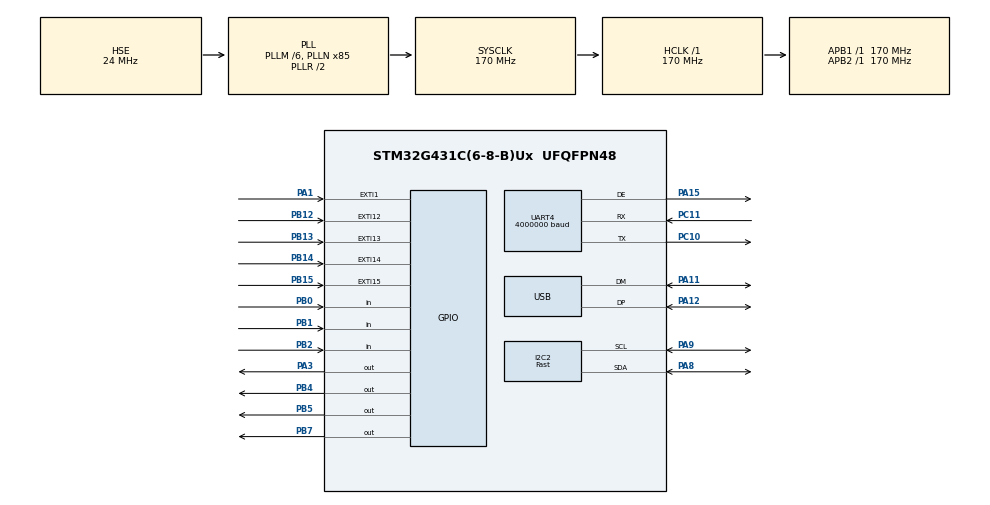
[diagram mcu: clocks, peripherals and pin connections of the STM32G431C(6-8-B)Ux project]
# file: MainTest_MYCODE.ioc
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Dma.I2C2_RX.2.Direction=DMA_PERIPH_TO_MEMORY
Dma.I2C2_RX.2.EventEnable=DISABLE
Dma.I2C2_RX.2.Instance=DMA2_Channel4
Dma.I2C2_RX.2.MemDataAlignment=DMA_MDATAALIGN_BYTE
Dma.I2C2_RX.2.MemInc=DMA_MINC_ENABLE
Dma.I2C2_RX.2.Mode=DMA_NORMAL
Dma.I2C2_RX.2.PeriphDataAlignment=DMA_PDATAALIGN_BYTE
Dma.I2C2_RX.2.PeriphInc=DMA_PINC_DISABLE
Dma.I2C2_RX.2.Polarity=HAL_DMAMUX_REQ_GEN_RISING
Dma.I2C2_RX.2.Priority=DMA_PRIORITY_HIGH
Dma.I2C2_RX.2.RequestNumber=1
Dma.I2C2_RX.2.SignalID=NONE
Dma.I2C2_RX.2.SyncEnable=DISABLE
Dma.I2C2_RX.2.SyncPolarity=HAL_DMAMUX_SYNC_NO_EVENT
Dma.I2C2_RX.2.SyncRequestNumber=1
Dma.I2C2_RX.2.SyncSignalID=NONE
Dma.I2C2_TX.3.Direction=DMA_MEMORY_TO_PERIPH
Dma.I2C2_TX.3.EventEnable=DISABLE
Dma.I2C2_TX.3.Instance=DMA2_Channel3
Dma.I2C2_TX.3.MemDataAlignment=DMA_MDATAALIGN_BYTE
Dma.I2C2_TX.3.MemInc=DMA_MINC_ENABLE
Dma.I2C2_TX.3.Mode=DMA_NORMAL
Dma.I2C2_TX.3.PeriphDataAlignment=DMA_PDATAALIGN_BYTE
Dma.I2C2_TX.3.PeriphInc=DMA_PINC_DISABLE
Dma.I2C2_TX.3.Polarity=HAL_DMAMUX_REQ_GEN_RISING
Dma.I2C2_TX.3.Priority=DMA_PRIORITY_HIGH
Dma.I2C2_TX.3.RequestNumber=1
Dma.I2C2_TX.3.SignalID=NONE
Dma.I2C2_TX.3.SyncEnable=DISABLE
Dma.I2C2_TX.3.SyncPolarity=HAL_DMAMUX_SYNC_NO_EVENT
Dma.I2C2_TX.3.SyncRequestNumber=1
Dma.I2C2_TX.3.SyncSignalID=NONE
Dma.Request0=UART4_RX
Dma.Request1=UART4_TX
Dma.Request2=I2C2_RX
Dma.Request3=I2C2_TX
Dma.UART4_RX.0.Direction=DMA_PERIPH_TO_MEMORY
Dma.UART4_RX.0.EventEnable=DISABLE
Dma.UART4_RX.0.Instance=DMA1_Channel1
Dma.UART4_RX.0.MemDataAlignment=DMA_MDATAALIGN_BYTE
Dma.UART4_RX.0.MemInc=DMA_MINC_ENABLE
Dma.UART4_RX.0.Mode=DMA_NORMAL
Dma.UART4_RX.0.PeriphDataAlignment=DMA_PDATAALIGN_BYTE
Dma.UART4_RX.0.PeriphInc=DMA_PINC_DISABLE
Dma.UART4_RX.0.Polarity=HAL_DMAMUX_REQ_GEN_RISING
Dma.UART4_RX.0.Priority=DMA_PRIORITY_HIGH
Dma.UART4_RX.0.RequestNumber=1
Dma.UART4_RX.0.SignalID=NONE
Dma.UART4_RX.0.SyncEnable=DISABLE
Dma.UART4_RX.0.SyncPolarity=HAL_DMAMUX_SYNC_NO_EVENT
Dma.UART4_RX.0.SyncRequestNumber=1
Dma.UART4_RX.0.SyncSignalID=NONE
Dma.UART4_TX.1.Direction=DMA_MEMORY_TO_PERIPH
Dma.UART4_TX.1.EventEnable=DISABLE
Dma.UART4_TX.1.Instance=DMA1_Channel2
Dma.UART4_TX.1.MemDataAlignment=DMA_MDATAALIGN_BYTE
Dma.UART4_TX.1.MemInc=DMA_MINC_ENABLE
Dma.UART4_TX.1.Mode=DMA_NORMAL
Dma.UART4_TX.1.PeriphDataAlignment=DMA_PDATAALIGN_BYTE
Dma.UART4_TX.1.PeriphInc=DMA_PINC_DISABLE
Dma.UART4_TX.1.Polarity=HAL_DMAMUX_REQ_GEN_RISING
Dma.UART4_TX.1.Priority=DMA_PRIORITY_HIGH
Dma.UART4_TX.1.RequestNumber=1
Dma.UART4_TX.1.SignalID=NONE
Dma.UART4_TX.1.SyncEnable=DISABLE
Dma.UART4_TX.1.SyncPolarity=HAL_DMAMUX_SYNC_NO_EVENT
Dma.UART4_TX.1.SyncRequestNumber=1
Dma.UART4_TX.1.SyncSignalID=NONE
I2C2.I2C_Speed_Mode=I2C_Fast
I2C2.Timing=0x40621236
Mcu.Family=STM32G4
Mcu.Name=STM32G431C(6-8-B)Ux
Mcu.Package=UFQFPN48
NVIC.DMA1_Channel1_IRQn=true\:0\:0\:false\:false\:true\:false\:true\:true
NVIC.DMA1_Channel2_IRQn=true\:0\:0\:false\:false\:true\:false\:true\:true
NVIC.DMA2_Channel3_IRQn=true\:0\:0\:false\:false\:true\:false\:true\:true
NVIC.DMA2_Channel4_IRQn=true\:0\:0\:false\:false\:true\:false\:true\:true
NVIC.EXTI15_10_IRQn=true\:1\:0\:true\:false\:true\:true\:true\:true
NVIC.EXTI1_IRQn=true\:1\:0\:true\:false\:true\:true\:true\:true
NVIC.I2C2_ER_IRQn=true\:0\:0\:false\:false\:true\:true\:true\:true
NVIC.I2C2_EV_IRQn=true\:0\:0\:false\:false\:true\:true\:true\:true
NVIC.PriorityGroup=NVIC_PRIORITYGROUP_4
NVIC.TIM1_UP_TIM16_IRQn=true\:0\:0\:false\:false\:true\:true\:true\:true
NVIC.TIM2_IRQn=true\:0\:0\:false\:false\:true\:true\:true\:true
NVIC.TIM8_UP_IRQn=true\:0\:0\:false\:false\:true\:true\:true\:true
NVIC.UART4_IRQn=true\:0\:0\:false\:false\:true\:false\:true\:true
NVIC.USB_LP_IRQn=true\:0\:0\:false\:false\:true\:true\:true\:true
PA1.GPIO_ModeDefaultEXTI=GPIO_MODE_IT_FALLING
PA1.GPIO_PuPd=GPIO_PULLUP
PA1.Signal=GPXTI1
PA11.Mode=Device
PA11.Signal=USB_DM
PA12.Mode=Device
PA12.Signal=USB_DP
PA13.Mode=Serial_Wire
PA13.Signal=SYS_JTMS-SWDIO
PA14.Mode=Serial_Wire
PA14.Signal=SYS_JTCK-SWCLK
PA15.GPIO_Speed=GPIO_SPEED_FREQ_VERY_HIGH
PA15.Mode=Hardware Flow Control (RS485)
PA15.Signal=UART4_DE
PA3.GPIO_PuPd=GPIO_PULLDOWN
PA3.Signal=GPIO_Output
PA8.Mode=I2C
PA8.Signal=I2C2_SDA
PA9.GPIO_Speed=GPIO_SPEED_FREQ_MEDIUM
PA9.Mode=I2C
PA9.Signal=I2C2_SCL
PB0.Signal=GPIO_Input
PB1.Signal=GPIO_Input
PB12.GPIO_ModeDefaultEXTI=GPIO_MODE_IT_FALLING
PB12.Signal=GPXTI12
PB13.GPIO_ModeDefaultEXTI=GPIO_MODE_IT_FALLING
PB13.Signal=GPXTI13
PB14.GPIO_ModeDefaultEXTI=GPIO_MODE_IT_FALLING
PB14.Signal=GPXTI14
PB15.GPIO_ModeDefaultEXTI=GPIO_MODE_IT_RISING_FALLING
PB15.Signal=GPXTI15
PB2.Signal=GPIO_Input
PB4.GPIO_Speed=GPIO_SPEED_FREQ_HIGH
PB4.PinState=GPIO_PIN_SET
PB4.Signal=GPIO_Output
PB5.GPIO_Speed=GPIO_SPEED_FREQ_HIGH
PB5.PinState=GPIO_PIN_SET
PB5.Signal=GPIO_Output
PB7.GPIO_Speed=GPIO_SPEED_FREQ_HIGH
PB7.PinState=GPIO_PIN_SET
PB7.Signal=GPIO_Output
PC10.GPIO_Speed=GPIO_SPEED_FREQ_VERY_HIGH
PC10.Mode=Asynchronous
PC10.Signal=UART4_TX
PC11.GPIO_Speed=GPIO_SPEED_FREQ_VERY_HIGH
PC11.Mode=Asynchronous
PC11.Signal=UART4_RX
PF0-OSC_IN.Mode=HSE-External-Clock-Source
PF0-OSC_IN.Signal=RCC_OSC_IN
ProjectManager.HeapSize=0x800
ProjectManager.StackSize=0x1000
ProjectManager.TargetToolchain=MDK-ARM V5.32
RCC.ADC12Freq_Value=170000000
RCC.AHBFreq_Value=170000000
RCC.APB1Freq_Value=170000000
RCC.APB1TimFreq_Value=170000000
RCC.APB2Freq_Value=170000000
RCC.APB2TimFreq_Value=170000000
RCC.CK48CLockSelection=RCC_USBCLKSOURCE_HSI48
RCC.CortexFreq_Value=170000000
RCC.EXTERNAL_CLOCK_VALUE=12288000
RCC.HCLKFreq_Value=170000000
RCC.HSE_VALUE=24000000
RCC.HSI48_VALUE=48000000
RCC.HSI_VALUE=16000000
RCC.LSE_VALUE=32768
RCC.PLLM=RCC_PLLM_DIV6
RCC.PLLN=85
RCC.PLLSourceVirtual=RCC_PLLSOURCE_HSE
RCC.SYSCLKFreq_VALUE=170000000
RCC.SYSCLKSource=RCC_SYSCLKSOURCE_PLLCLK
RCC.USBFreq_Value=48000000
RCC.VCOOutputFreq_Value=340000000
TIM1.PeriodNoDither=5000-1
TIM1.Prescaler=17000-1
TIM2.AutoReloadPreload=TIM_AUTORELOAD_PRELOAD_ENABLE
TIM2.PeriodNoDither=1000000000-1
TIM2.Prescaler=170-1
TIM2.TIM_MasterOutputTrigger=TIM_TRGO_RESET
TIM8.PeriodNoDither=10000-1
TIM8.Prescaler=17000-1
UART4.BaudRate=4000000
USB_DEVICE.CLASS_NAME_FS=CDC
USB_DEVICE.VirtualMode=Cdc
USB_DEVICE.VirtualModeFS=Cdc_FS
VP_CRC_VS_CRC.Mode=CRC_Activate
VP_SYS_VS_DBSignals.Mode=DisableDeadBatterySignals
VP_TIM1_VS_ClockSourceINT.Mode=Internal
VP_TIM2_VS_ClockSourceINT.Mode=Internal
VP_TIM8_VS_ClockSourceINT.Mode=Internal
VP_USB_DEVICE_VS_USB_DEVICE_CDC_FS.Mode=CDC_FS
board=custom

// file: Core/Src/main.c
/* USER CODE BEGIN Header */
/**
  ******************************************************************************
  * @file           : main.c
  * @brief          : Main program body
  ******************************************************************************
  * @attention
  *
  * Copyright (c) 2025 STMicroelectronics.
  * All rights reserved.
  *
  * This software is licensed under terms that can be found in the LICENSE file
  * in the root directory of this software component.
  * If no LICENSE file comes with this software, it is provided AS-IS.
  *
  ******************************************************************************
  */
/* USER CODE END Header */
#include "main.h"
#include "crc.h"
#include "dma.h"
#include "i2c.h"
#include "tim.h"
#include "usart.h"
#include "usb_device.h"
#include "gpio.h"

/* USER CODE BEGIN Includes */
#include "stdbool.h"
#include "msuart.h"
#include "bsp_tim.h"
#include "bsp_crc.h"
#include "test.h"
#include "bsp_uart.h"
#include "bsp_led.h"
#include "kth5701.h"
/* USER CODE END Includes */

/* USER CODE BEGIN PTD */
extern UART_Buffers uart_buffers;
extern TestedObj_e TestedObj_Current;
/* USER CODE END PTD */

void SystemClock_Config(void);

int main(void)
{

  /* MCU Configuration--------------------------------------------------------*/

  /* Reset of all peripherals, Initializes the Flash interface and the Systick. */
  HAL_Init();

  /* Configure the system clock */
  SystemClock_Config();

  /* USER CODE BEGIN SysInit */
	//HW_CRC_Init();//？？要还是不要
  /* USER CODE END SysInit */

  /* Initialize all configured peripherals */
  MX_GPIO_Init();
  MX_DMA_Init();
  MX_TIM1_Init();
  MX_TIM2_Init();
  MX_TIM8_Init();
  MX_UART4_Init();
  MX_I2C2_Init();
  MX_CRC_Init();
  MX_USB_Device_Init();
  /* USER CODE BEGIN 2 */
  SystemTimer_Init();//这里面分频系数计数好像有问题？？？已修改
  MSUART_Init();//uart4初始化
  MSUART_Start_DMA_Transfer(&msuart4, false, false, NULL, NULL, 0, true, true, false, UART_RxCallback, (uint8_t *)uart_buffers.rx_dma_buffer, RAW_FRAME_SIZE_MAX);
  HAL_Delay(1000);

  YELLOW_ON();
  /* USER CODE END 2 */

  /* Infinite loop */
  while (1)
  {
    /* USER CODE BEGIN 3 */
		test();
  }
  /* USER CODE END 3 */
}

void SystemClock_Config(void)
{
  RCC_OscInitTypeDef RCC_OscInitStruct = {0};
  RCC_ClkInitTypeDef RCC_ClkInitStruct = {0};

  /** Configure the main internal regulator output voltage
  */
  HAL_PWREx_ControlVoltageScaling(PWR_REGULATOR_VOLTAGE_SCALE1_BOOST);

  /** Initializes the RCC Oscillators according to the specified parameters
  * in the RCC_OscInitTypeDef structure.
  */
  RCC_OscInitStruct.OscillatorType = RCC_OSCILLATORTYPE_HSI48|RCC_OSCILLATORTYPE_HSE;
  RCC_OscInitStruct.HSEState = RCC_HSE_BYPASS;
  RCC_OscInitStruct.HSI48State = RCC_HSI48_ON;
  RCC_OscInitStruct.PLL.PLLState = RCC_PLL_ON;
  RCC_OscInitStruct.PLL.PLLSource = RCC_PLLSOURCE_HSE;
  RCC_OscInitStruct.PLL.PLLM = RCC_PLLM_DIV6;
  RCC_OscInitStruct.PLL.PLLN = 85;
  RCC_OscInitStruct.PLL.PLLP = RCC_PLLP_DIV2;
  RCC_OscInitStruct.PLL.PLLQ = RCC_PLLQ_DIV2;
  RCC_OscInitStruct.PLL.PLLR = RCC_PLLR_DIV2;
  if (HAL_RCC_OscConfig(&RCC_OscInitStruct) != HAL_OK)
  {
    Error_Handler();
  }

  /** Initializes the CPU, AHB and APB buses clocks
  */
  RCC_ClkInitStruct.ClockType = RCC_CLOCKTYPE_HCLK|RCC_CLOCKTYPE_SYSCLK
                              |RCC_CLOCKTYPE_PCLK1|RCC_CLOCKTYPE_PCLK2;
  RCC_ClkInitStruct.SYSCLKSource = RCC_SYSCLKSOURCE_PLLCLK;
  RCC_ClkInitStruct.AHBCLKDivider = RCC_SYSCLK_DIV1;
  RCC_ClkInitStruct.APB1CLKDivider = RCC_HCLK_DIV1;
  RCC_ClkInitStruct.APB2CLKDivider = RCC_HCLK_DIV1;

  if (HAL_RCC_ClockConfig(&RCC_ClkInitStruct, FLASH_LATENCY_4) != HAL_OK)
  {
    Error_Handler();
  }
}

void Error_Handler(void)
{
  __disable_irq();
  while (1)
  {
  }
}
